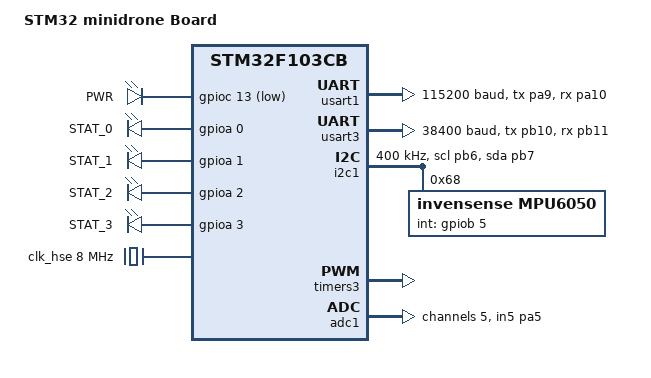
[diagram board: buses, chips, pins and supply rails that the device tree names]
/*
 * SPDX-License-Identifier: Apache-2.0
 *
 * STM32 MiniDrone Board Device Tree
 *
 * Pin mapping (from KiCad schematic):
 *   PA0-PA3  : STAT_0..STAT_3 (GPIO LEDs)
 *   PA5      : VBAT_a (ADC1_IN5, battery voltage)
 *   PA6      : FR_PWM (TIM3_CH1)
 *   PA7      : BL_PWM (TIM3_CH2)
 *   PA9/PA10 : USART1 (debug console)
 *   PB0      : BR_PWM (TIM3_CH3)
 *   PB1      : FL_PWM (TIM3_CH4)
 *   PB6/PB7  : I2C1 (MPU6050)
 *   PB10/PB11: USART3 (HM-13 Bluetooth)
 *   PC13     : PWR LED
 */

/dts-v1/;
#include <st/f1/stm32f103Xb.dtsi>
#include <st/f1/stm32f103r(8-b)tx-pinctrl.dtsi>

/ {
	model = "STM32 minidrone Board";
	compatible = "st,stm32f103cb";

	chosen {
		zephyr,console = &usart1;
		zephyr,shell-uart = &usart1;
		zephyr,sram = &sram0;
		zephyr,flash = &flash0;
	};

	leds {
		compatible = "gpio-leds";

		pwr_led: pwr_led {
			gpios = <&gpioc 13 GPIO_ACTIVE_LOW>;
			label = "PWR";
		};

		stat0: stat_0 {
			gpios = <&gpioa 0 GPIO_ACTIVE_HIGH>;
			label = "STAT_0";
		};

		stat1: stat_1 {
			gpios = <&gpioa 1 GPIO_ACTIVE_HIGH>;
			label = "STAT_1";
		};

		stat2: stat_2 {
			gpios = <&gpioa 2 GPIO_ACTIVE_HIGH>;
			label = "STAT_2";
		};

		stat3: stat_3 {
			gpios = <&gpioa 3 GPIO_ACTIVE_HIGH>;
			label = "STAT_3";
		};
	};

	aliases {
		led0 = &pwr_led;
		stat0 = &stat0;
		stat1 = &stat1;
		stat2 = &stat2;
		stat3 = &stat3;
		bt-uart = &usart3;
	};
};

&clk_hse {
	clock-frequency = <DT_FREQ_M(8)>;
	status = "okay";
};

&pll {
	mul = <9>;
	clocks = <&clk_hse>;
	status = "okay";
};

&rcc {
	clocks = <&pll>;
	clock-frequency = <DT_FREQ_M(72)>;
	ahb-prescaler = <1>;
	apb1-prescaler = <2>;
	apb2-prescaler = <1>;
};

/* Debug console */
&usart1 {
	pinctrl-0 = <&usart1_tx_pa9 &usart1_rx_pa10>;
	pinctrl-names = "default";
	current-speed = <115200>;
	status = "okay";
};

/* Bluetooth HM-13 */
&usart3 {
	pinctrl-0 = <&usart3_tx_pb10 &usart3_rx_pb11>;
	pinctrl-names = "default";
	current-speed = <38400>;
	status = "okay";
};

/* IMU MPU6050 */
&i2c1 {
	pinctrl-0 = <&i2c1_scl_pb6 &i2c1_sda_pb7>;
	pinctrl-names = "default";
	status = "okay";
	clock-frequency = <I2C_BITRATE_FAST>;

	mpu6050: mpu6050@68 {
		compatible = "invensense,mpu6050";
		reg = <0x68>;
		status = "okay";
		int-gpios = <&gpiob 5 GPIO_ACTIVE_HIGH>;
	};
};

/* Motor PWM: TIM3 CH1-CH4 on PA6, PA7, PB0, PB1 */
&timers3 {
	st,prescaler = <0>;
	status = "okay";

	motor_pwm: pwm {
		compatible = "st,stm32-pwm";
		status = "okay";
		pinctrl-0 = <&tim3_ch1_pwm_out_pa6
			     &tim3_ch2_pwm_out_pa7
			     &tim3_ch3_pwm_out_pb0
			     &tim3_ch4_pwm_out_pb1>;
		pinctrl-names = "default";
		#pwm-cells = <3>;
	};
};

/* Battery voltage ADC on PA5 (ADC1_IN5) */
&adc1 {
	pinctrl-0 = <&adc1_in5_pa5>;
	pinctrl-names = "default";
	status = "okay";
	#address-cells = <1>;
	#size-cells = <0>;

	channel@5 {
		reg = <5>;
		zephyr,gain = "ADC_GAIN_1";
		zephyr,reference = "ADC_REF_INTERNAL";
		zephyr,acquisition-time = <ADC_ACQ_TIME_DEFAULT>;
		zephyr,resolution = <12>;
	};
};
